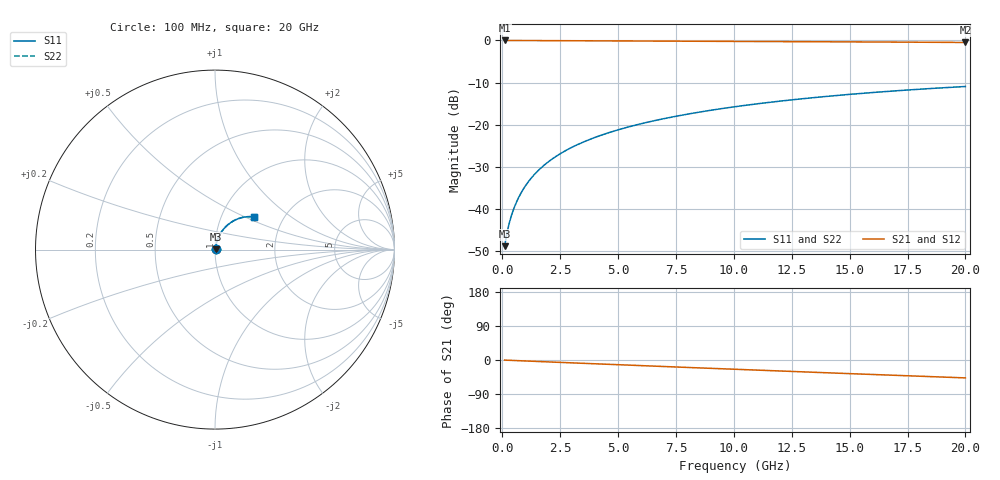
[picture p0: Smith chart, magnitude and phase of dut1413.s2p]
! Touchstone file exported from HFSS 2026.1.0
!  File:  C:/ffzhzh/LocalFiles/Ansys_Project_Files/temp_train_TMRDL_1413_1783166563_51560.aedt
!  Generated:  08:04:00 PM Jul  4, 2026
!  Design:  TMRDL
!  Project:  temp_train_TMRDL_1413_1783166563_51560
! Variables:
!  h_bsmrdl = 2um
!  h_ox = 20um
!  h_rdl = 5um
!  h_sub = 80um
!  h_tmrdl = 5.29um
!  h_tsv = 80um
!  h_via = 3um
!  l_bsmrdl = 300um
!  l_sub = 1193.44um
!  l_tmrdl = 793.44um
!  m_sub = 200um
!  pitch = 33.64um
!  r_tsv = 6um
!  s_tmrdl = 10um
!  w_bsmrdl = 18um
!  w_sub = 500um
!  w_tmrdl = 19.27um
!  x_tsv_center1 = 803.075um
!  x_tsv_center2 = 1121.075um
!  x_tsv_center3 = 1933.785um
!  x_tsv_center4 = 2251.785um
!  x_tsv_center5 = 3064.495um
!  x_tsv_center6 = 3382.495um
# GHz S MA R 50.000000
! Terminal data exported
! Port[1] = TM_RDL1_1_T1
! Port[2] = TM_RDL1_1_T2
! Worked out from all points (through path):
!   200 points, 100 MHz to 20 GHz, reference 50 ohm
!   highest |S21| = -0.03 dB at 100 MHz (marker M1); lowest = -0.5 dB at 20 GHz (marker M2)
!   group delay of S21, straight-line fit = 6.55 ps
!   lowest |S11| = -48.8 dB at 100 MHz (marker M3), VSWR 1.01, Z = 50.3 + j0.214 ohm
!   |S11| at or under -10 dB: start of sweep to end of sweep
!   |S22| runs from -48.8 to -10.9 dB; largest |S21 - S12| = 1.6e-14
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0.1  0.003638 35.8  0.9971 -0.3  0.9971 -0.3  0.003638 35.8
! Gamma 0 0 0 0
! Port Impedance 50 0 50 0
0.2  0.005188 51.7  0.9968 -0.5  0.9968 -0.5  0.005188 51.7
0.3  0.006825 59.6  0.9966 -0.8  0.9966 -0.8  0.006826 59.6
0.4  0.008485 64.6  0.9965 -1.0  0.9965 -1.0  0.008485 64.6
0.5  0.01017 67.9  0.9964 -1.3  0.9964 -1.3  0.01017 67.9
0.6  0.01188 70.4  0.9963 -1.5  0.9963 -1.5  0.01188 70.4
0.8  0.01536 73.6  0.9961 -2.0  0.9961 -2.0  0.01536 73.5
1.1  0.02065 76.0  0.9958 -2.8  0.9958 -2.8  0.02065 76.0
1.3  0.0242 76.8  0.9956 -3.3  0.9956 -3.3  0.0242 76.8
1.6  0.02952 77.3  0.9952 -4.1  0.9952 -4.1  0.02952 77.3
2.1  0.03833 77.4  0.9944 -5.3  0.9944 -5.3  0.03833 77.4
2.7  0.04875 76.7  0.9933 -6.8  0.9933 -6.8  0.04875 76.7
3.5  0.06235 75.3  0.9917 -8.8  0.9917 -8.8  0.06235 75.3
4.2  0.07398 73.9  0.9901 -10.5  0.9901 -10.5  0.07398 73.9
5  0.087 72.3  0.9882 -12.4  0.9882 -12.4  0.08699 72.3
5.9  0.1013 70.4  0.986 -14.6  0.986 -14.6  0.1013 70.4
6.8  0.1153 68.5  0.9838 -16.8  0.9838 -16.8  0.1153 68.5
8.3  0.138 65.3  0.9798 -20.4  0.9798 -20.4  0.138 65.2
10.1  0.1642 61.4  0.9748 -24.6  0.9748 -24.6  0.1642 61.3
13.4  0.209 54.2  0.9649 -32.3  0.9649 -32.3  0.209 54.2
16.7  0.249 47.0  0.9544 -39.8  0.9544 -39.8  0.249 47.0
20  0.2839 39.9  0.944 -47.2  0.944 -47.2  0.2838 39.9
